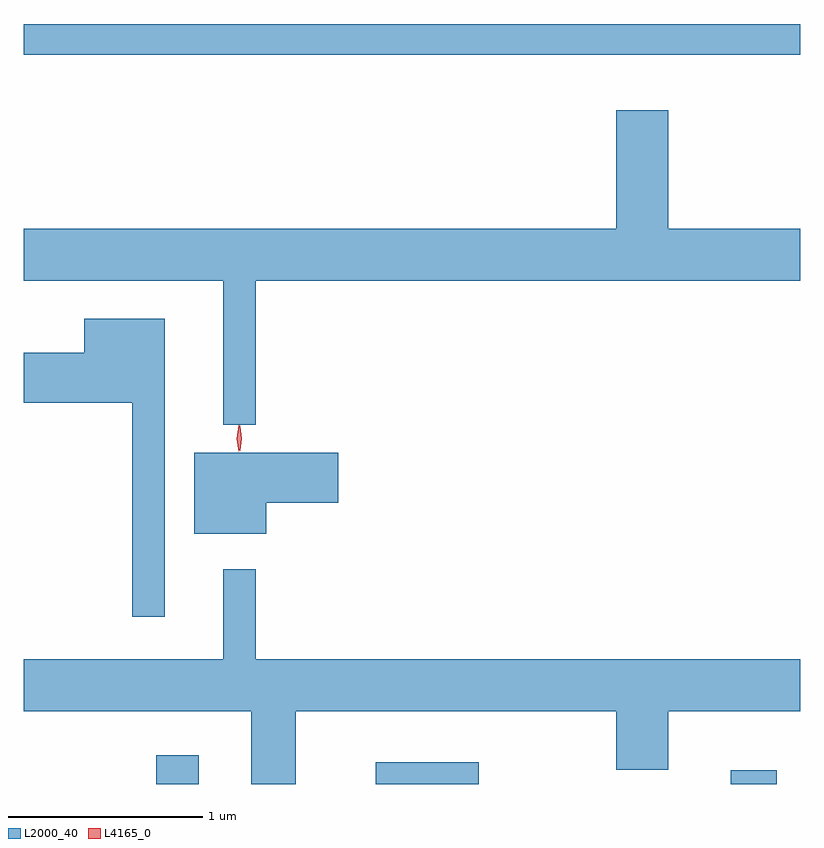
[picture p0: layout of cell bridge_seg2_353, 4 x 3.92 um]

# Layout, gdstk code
import gdstk
lib = gdstk.Library(unit=1e-6, precision=1e-09)
def R(c, l, rs):  # rectangles x0, y0, x1, y1
    for r in rs: c.add(gdstk.rectangle(r[:2], r[2:], *l))
def P(c, l, *ps):  # polygons
    for p in ps: c.add(gdstk.Polygon(p, *l))
L2000_40 = (2000, 40)
L4165_0 = (4165, 0)

bridge_seg2_353 = lib.new_cell('bridge_seg2_353')
R(bridge_seg2_353, L2000_40, [(352.566,983.562,352.784,983.709), (353.696,983.562,354.228,983.674), (355.526,983.562,355.764,983.634), (351.884,987.321,355.884,987.479)])
P(bridge_seg2_353, L2000_40, [(354.936,987.034),(354.936,986.424),(351.884,986.424),(351.884,986.156),(352.911,986.156),(352.911,985.413),(353.079,985.413),(353.079,986.156),(355.884,986.156),(355.884,986.424),(355.204,986.424),(355.204,987.034)],
  [(352.609,985.959),(352.196,985.959),(352.196,985.784),(351.884,985.784),(351.884,985.526),(352.441,985.526),(352.441,984.423),(352.609,984.423)],
  [(353.134,985.011),(353.504,985.011),(353.504,985.269),(352.761,985.269),(352.761,984.851),(353.134,984.851)],
  [(353.284,983.936),(354.936,983.936),(354.936,983.636),(355.204,983.636),(355.204,983.936),(355.884,983.936),(355.884,984.204),(353.079,984.204),(353.079,984.668),(352.911,984.668),(352.911,984.204),(351.884,984.204),(351.884,983.936),(353.056,983.936),(353.056,983.562),(353.284,983.562)])
P(bridge_seg2_353, L4165_0, [(352.997,985.28),(352.997,985.28),(352.988,985.344),(352.997,985.406),(352.997,985.407),(352.998,985.406),(353.007,985.344),(352.998,985.28)],
  [(352.99,985.274),(352.99,985.274),(352.981,985.342),(352.992,985.41),(352.992,985.41),(352.993,985.41),(353.001,985.342),(352.991,985.274)])

lib.write_gds('bridge_seg2_353.gds')
